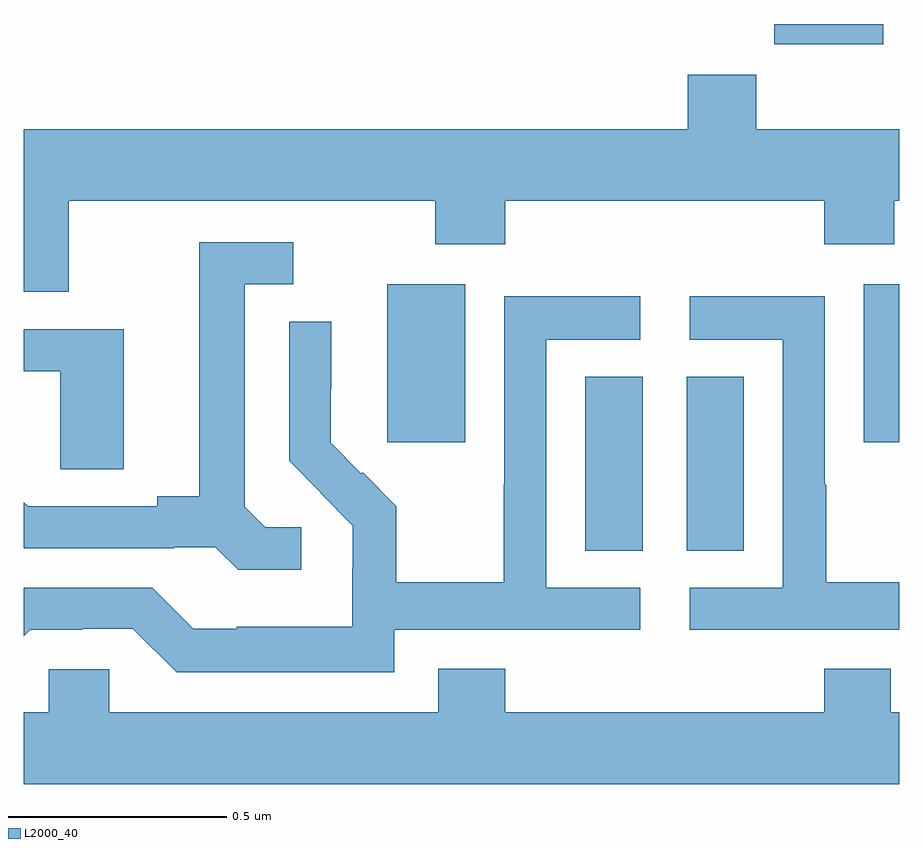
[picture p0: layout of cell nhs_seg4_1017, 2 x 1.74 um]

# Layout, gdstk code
import gdstk
lib = gdstk.Library(unit=1e-6, precision=1e-09)
def R(c, l, rs):  # rectangles x0, y0, x1, y1
    for r in rs: c.add(gdstk.rectangle(r[:2], r[2:], *l))
def P(c, l, *ps):  # polygons
    for p in ps: c.add(gdstk.Polygon(p, *l))
L2000_40 = (2000, 40)

nhs_seg4_1017 = lib.new_cell('nhs_seg4_1017')
R(nhs_seg4_1017, L2000_40, [(124.283,786.697,124.414,787.094), (124.514,786.697,124.645,787.094), (123.83,786.945,124.009,787.306), (124.919,786.945,125,787.306), (124.714,787.854,124.963,787.9)])
P(nhs_seg4_1017, L2000_40, [(123.103,787.496),(123.94,787.496),(123.94,787.397),(124.1,787.397),(124.1,787.496),(124.829,787.496),(124.829,787.397),(124.989,787.397),(124.989,787.496),(125,787.496),(125,787.66),(124.673,787.66),(124.673,787.784),(124.517,787.784),(124.517,787.66),(123,787.66),(123,787.288),(123.103,787.288)],
  [(123.634,786.75),(123.552,786.75),(123.505,786.797),(123.505,787.305),(123.616,787.305),(123.616,787.401),(123.401,787.401),(123.401,786.821),(123.305,786.821),(123.305,786.798),(123.01,786.798),(123,786.808),(123,786.702),(123.344,786.702),(123.344,786.705),(123.438,786.705),(123.49,786.653),(123.634,786.653)],
  [(125,786.625),(124.833,786.625),(124.833,786.848),(124.83,786.848),(124.83,787.278),(124.521,787.278),(124.521,787.179),(124.734,787.179),(124.734,786.612),(124.521,786.612),(124.521,786.516),(125,786.516)],
  [(123.846,786.516),(124.408,786.516),(124.408,786.612),(124.194,786.612),(124.194,787.179),(124.408,787.179),(124.408,787.278),(124.098,787.278),(124.098,786.848),(124.096,786.848),(124.096,786.625),(123.851,786.625),(123.851,786.799),(123.774,786.876),(123.771,786.873),(123.701,786.944),(123.701,787.066),(123.702,787.066),(123.702,787.22),(123.606,787.22),(123.606,786.902),(123.679,786.829),(123.678,786.828),(123.752,786.754),(123.752,786.657),(123.75,786.657),(123.75,786.523),(123.487,786.523),(123.487,786.519),(123.387,786.519),(123.294,786.612),(123,786.612),(123,786.501),(123.015,786.516),(123.134,786.516),(123.134,786.519),(123.249,786.519),(123.349,786.419),(123.846,786.419)],
  [(123.229,787.203),(123,787.203),(123,787.107),(123.084,787.107),(123.084,786.883),(123.229,786.883)],
  [(125,786.328),(124.981,786.328),(124.981,786.427),(124.829,786.427),(124.829,786.328),(124.1,786.328),(124.1,786.427),(123.947,786.427),(123.947,786.328),(123.195,786.328),(123.195,786.426),(123.057,786.426),(123.057,786.328),(123,786.328),(123,786.164),(125,786.164)])

lib.write_gds('nhs_seg4_1017.gds')
